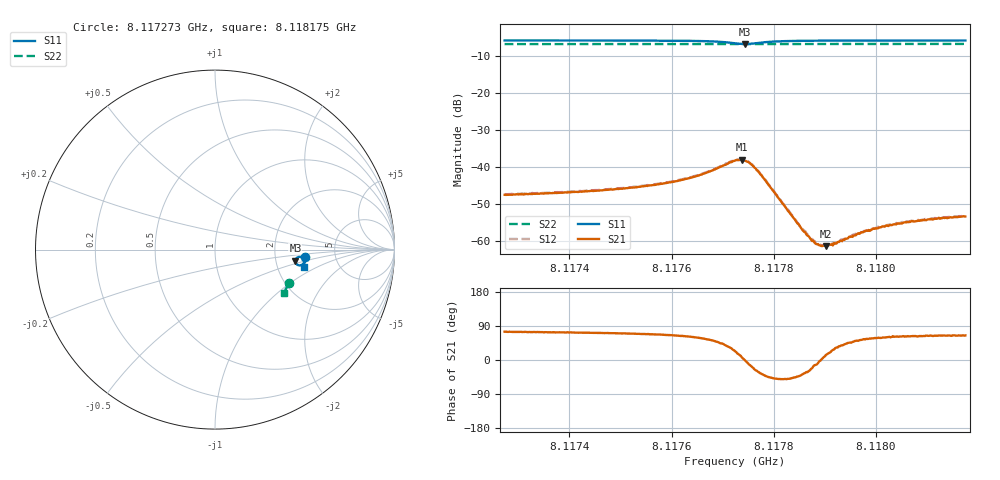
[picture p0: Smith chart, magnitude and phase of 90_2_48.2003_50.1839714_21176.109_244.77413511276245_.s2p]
#  HZ  S  RI  R  50.00
! Rohde & Schwarz Vector Network Analyzer
! Rohde-Schwarz,ZNB20-2Port,1311601062101988,3.16
! Created: UTC 3/20/2024, 11:40:03 AM
! freq[Hz]  re:S11  im:S11  re:S21  im:S21  re:S12  im:S12  re:S22  im:S22
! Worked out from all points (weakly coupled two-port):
!   401 points, 8.117273 GHz to 8.118175 GHz, reference 50 ohm
!   highest |S21| = -38.15 dB at 8.117738 GHz (marker M1); lowest = -61.5 dB at 8.117902 GHz (marker M2)
!   lowest |S11| = -6.9 dB at 8.117744 GHz (marker M3), VSWR 2.65, Z = 129 - j19.7 ohm
!   |S11| at or under -10 dB: nowhere
!   |S22| runs from -6.9 to -6.9 dB; largest |S21 - S12| = 0.00051
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8.1172733e9  0.5042 -0.0386  0.00111 0.004  0.00117 0.00405  0.4106 -0.1875
8.1174244e9  0.5023 -0.0519  0.0014 0.00435  0.00146 0.0044  0.4065 -0.1973
8.117519e9  0.5003 -0.0612  0.0018 0.00486  0.00186 0.00488  0.4036 -0.2035
8.1175754e9  0.4981 -0.0679  0.00222 0.00534  0.00235 0.00541  0.402 -0.2072
8.1176092e9  0.496 -0.0727  0.00271 0.00572  0.00285 0.00578  0.401 -0.2093
8.1176498e9  0.4912 -0.0797  0.00383 0.00644  0.00395 0.00654  0.3995 -0.212
8.1177242e9  0.4562 -0.0825  0.0111 0.00478  0.0114 0.00465  0.3956 -0.216
8.1177377e9  0.4485 -0.0694  0.0123 0.00146  0.0125 0.00133  0.3951 -0.2163
8.1177445e9  0.448 -0.0609  0.0119 -0.000384  0.0122 -0.000518  0.395 -0.2162
8.1177557e9  0.4539 -0.0482  0.0104 -0.00304  0.0104 -0.00317  0.395 -0.2164
8.1177738e9  0.4702 -0.04  0.00644 -0.00453  0.00649 -0.00467  0.3954 -0.2174
8.1178504e9  0.4964 -0.058  0.00119 -0.00107  0.00118 -0.00105  0.3939 -0.223
8.1178752e9  0.4976 -0.0628  0.000917 -0.000364  0.000967 -0.000412  0.3933 -0.2246
8.1178887e9  0.4981 -0.0652  0.000865 -5.8e-05  0.000892 -6.46e-05  0.3928 -0.2255
8.1179023e9  0.4982 -0.0672  0.000817 0.000197  0.000828 0.000194  0.3923 -0.2264
8.117918e9  0.4985 -0.0695  0.00082 0.000433  0.000803 0.000409  0.3918 -0.2275
8.1179586e9  0.4984 -0.0747  0.000755 0.000902  0.000807 0.000922  0.3903 -0.2301
8.1179767e9  0.4983 -0.0766  0.000755 0.00108  0.000801 0.00109  0.3899 -0.2313
8.1180082e9  0.4981 -0.0801  0.000796 0.00129  0.00084 0.0013  0.3889 -0.2332
8.1180262e9  0.4979 -0.0819  0.000778 0.0014  0.000805 0.00144  0.3882 -0.2344
8.1181006e9  0.497 -0.0888  0.000845 0.00173  0.000891 0.00175  0.3855 -0.239
8.118175e9  0.4959 -0.0951  0.000901 0.00191  0.000921 0.00191  0.3831 -0.2437
